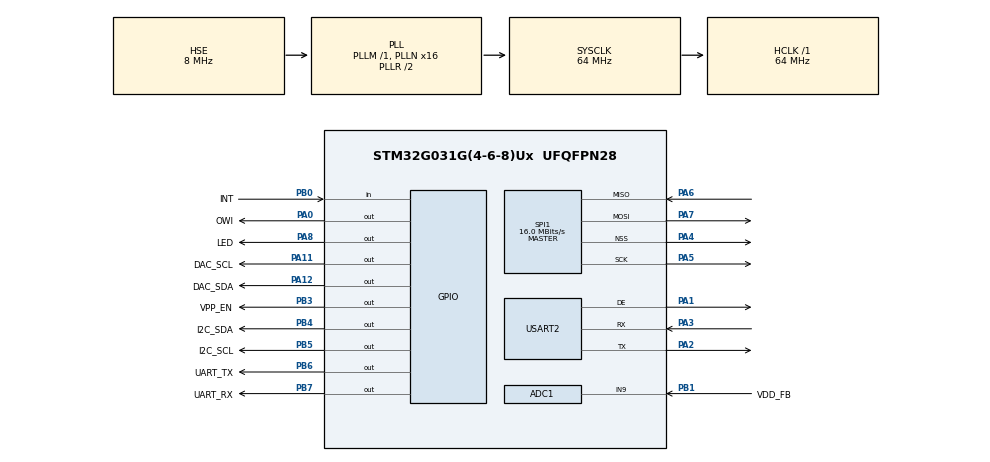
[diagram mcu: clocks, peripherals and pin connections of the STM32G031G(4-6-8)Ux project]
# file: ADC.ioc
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ADC1.Channel-0\#ChannelRegularConversion=ADC_CHANNEL_9
ADC1.ContinuousConvMode=ENABLE
ADC1.NbrOfConversionFlag=1
ADC1.OversamplingMode=ENABLE
ADC1.Rank-0\#ChannelRegularConversion=1
ADC1.Ratio=ADC_OVERSAMPLING_RATIO_16
ADC1.SamplingTime-0\#ChannelRegularConversion=ADC_SAMPLINGTIME_COMMON_1
ADC1.SamplingTimeCommon1=ADC_SAMPLETIME_160CYCLES_5
ADC1.SamplingTimeCommon2=ADC_SAMPLETIME_160CYCLES_5
ADC1.SelectedChannel=ADC_CHANNEL_9
ADC1.master=1
Dma.ADC1.0.Direction=DMA_PERIPH_TO_MEMORY
Dma.ADC1.0.EventEnable=DISABLE
Dma.ADC1.0.Instance=DMA1_Channel1
Dma.ADC1.0.MemDataAlignment=DMA_MDATAALIGN_WORD
Dma.ADC1.0.MemInc=DMA_MINC_ENABLE
Dma.ADC1.0.Mode=DMA_CIRCULAR
Dma.ADC1.0.PeriphDataAlignment=DMA_PDATAALIGN_WORD
Dma.ADC1.0.PeriphInc=DMA_PINC_DISABLE
Dma.ADC1.0.Polarity=HAL_DMAMUX_REQ_GEN_RISING
Dma.ADC1.0.Priority=DMA_PRIORITY_VERY_HIGH
Dma.ADC1.0.RequestNumber=1
Dma.ADC1.0.SignalID=NONE
Dma.ADC1.0.SyncEnable=DISABLE
Dma.ADC1.0.SyncPolarity=HAL_DMAMUX_SYNC_NO_EVENT
Dma.ADC1.0.SyncRequestNumber=1
Dma.ADC1.0.SyncSignalID=NONE
Dma.Request0=ADC1
FREERTOS.Tasks01=defaultTask,0,128,StartDefaultTask,Default,NULL,Dynamic,NULL,NULL;myTask02,-3,128,ModbusTask,Default,NULL,Dynamic,NULL,NULL
IWDG.Prescaler=IWDG_PRESCALER_32
IWDG.Reload=1000
IWDG.Window=1000
Mcu.Family=STM32G0
Mcu.Name=STM32G031G(4-6-8)Ux
Mcu.Package=UFQFPN28
NVIC.DMA1_Channel1_IRQn=true\:3\:0\:false\:false\:true\:true\:false\:true\:true
NVIC.TIM14_IRQn=true\:3\:0\:false\:false\:true\:false\:false\:true\:true
NVIC.TIM1_BRK_UP_TRG_COM_IRQn=true\:3\:0\:false\:false\:true\:true\:true\:true\:true
NVIC.TIM1_CC_IRQn=true\:3\:0\:false\:false\:true\:true\:true\:true\:true
NVIC.TIM2_IRQn=true\:3\:0\:false\:false\:true\:true\:true\:true\:true
NVIC.TIM3_IRQn=true\:3\:0\:false\:false\:true\:true\:true\:true\:true
NVIC.TimeBase=TIM14_IRQn
NVIC.TimeBaseIP=TIM14
NVIC.USART2_IRQn=true\:3\:0\:false\:false\:true\:true\:true\:true\:true
PA0.GPIO_Label=OWI
PA0.GPIO_ModeDefaultOutputPP=GPIO_MODE_OUTPUT_OD
PA0.GPIO_PuPd=GPIO_PULLUP
PA0.GPIO_Speed=GPIO_SPEED_FREQ_VERY_HIGH
PA0.Signal=GPIO_Output
PA1.Mode=Hardware Flow Control (RS485)
PA1.Signal=USART2_DE
PA11\ [PA9].GPIO_Label=DAC_SCL
PA11\ [PA9].GPIO_ModeDefaultOutputPP=GPIO_MODE_OUTPUT_OD
PA11\ [PA9].GPIO_PuPd=GPIO_NOPULL
PA11\ [PA9].PinState=GPIO_PIN_SET
PA11\ [PA9].Signal=GPIO_Output
PA12\ [PA10].GPIO_Label=DAC_SDA
PA12\ [PA10].GPIO_ModeDefaultOutputPP=GPIO_MODE_OUTPUT_OD
PA12\ [PA10].GPIO_PuPd=GPIO_NOPULL
PA12\ [PA10].PinState=GPIO_PIN_SET
PA12\ [PA10].Signal=GPIO_Output
PA13.Mode=Serial_Wire
PA13.Signal=SYS_SWDIO
PA14-BOOT0.Mode=Serial_Wire
PA14-BOOT0.Signal=SYS_SWCLK
PA2.Mode=Asynchronous
PA2.Signal=USART2_TX
PA3.Mode=Asynchronous
PA3.Signal=USART2_RX
PA4.Mode=NSS_Signal_Hard_Output
PA4.Signal=SPI1_NSS
PA5.Mode=Full_Duplex_Master
PA5.Signal=SPI1_SCK
PA6.Mode=Full_Duplex_Master
PA6.Signal=SPI1_MISO
PA7.Mode=Full_Duplex_Master
PA7.Signal=SPI1_MOSI
PA8.GPIO_Label=LED
PA8.Signal=GPIO_Output
PB0.GPIO_Label=INT
PB0.Signal=GPIO_Input
PB1.GPIO_Label=VDD_FB
PB1.Mode=IN9
PB1.Signal=ADC1_IN9
PB3.GPIO_Label=VPP_EN
PB3.Signal=GPIO_Output
PB4.GPIO_Label=I2C_SDA
PB4.GPIO_ModeDefaultOutputPP=GPIO_MODE_OUTPUT_OD
PB4.GPIO_PuPd=GPIO_NOPULL
PB4.Signal=GPIO_Output
PB5.GPIO_Label=I2C_SCL
PB5.GPIO_ModeDefaultOutputPP=GPIO_MODE_OUTPUT_OD
PB5.GPIO_PuPd=GPIO_NOPULL
PB5.Signal=GPIO_Output
PB6.GPIO_Label=UART_TX
PB6.Signal=GPIO_Output
PB7.GPIO_Label=UART_RX
PB7.Signal=GPIO_Output
PC14-OSC32_IN\ (PC14).Mode=HSE-External-Clock-Source
PC14-OSC32_IN\ (PC14).Signal=RCC_OSC_IN
ProjectManager.HeapSize=0x200
ProjectManager.StackSize=0x400
ProjectManager.TargetToolchain=MDK-ARM V5.32
RCC.ADCFreq_Value=64000000
RCC.AHBFreq_Value=64000000
RCC.CortexFreq_Value=64000000
RCC.EXTERNAL_CLOCK_VALUE=12288000
RCC.HCLKFreq_Value=64000000
RCC.HSE_VALUE=8000000
RCC.HSI_VALUE=16000000
RCC.LSE_VALUE=32768
RCC.PLLN=16
RCC.PLLSourceVirtual=RCC_PLLSOURCE_HSE
RCC.SYSCLKFreq_VALUE=64000000
RCC.SYSCLKSource=RCC_SYSCLKSOURCE_PLLCLK
RCC.TIM1CLockSelectionVirtual=RCC_TIM1CLKSOURCE_PLL
RCC.VCOOutputFreq_Value=128000000
SPI1.BaudRatePrescaler=SPI_BAUDRATEPRESCALER_4
SPI1.CLKPhase=SPI_PHASE_2EDGE
SPI1.CalculateBaudRate=16.0 MBits/s
SPI1.Direction=SPI_DIRECTION_2LINES
SPI1.Mode=SPI_MODE_MASTER
SPI1.VirtualNSS=VM_NSSHARD
SPI1.VirtualType=VM_MASTER
TIM1.Period=0xFFFF
TIM1.Prescaler=64-1
TIM2.Channel-Input_Capture1_from_TI1_REMAP_TIM2=TIM_CHANNEL_1
TIM2.Prescaler=64-1
USART2.VirtualMode-Asynchronous=VM_ASYNC
USART2.VirtualMode-Hardware\ Flow\ Control\ (RS485)=VM_ASYNC
VP_FREERTOS_VS_CMSIS_V1.Mode=CMSIS_V1
VP_IWDG_VS_IWDG.Mode=IWDG_Activate
VP_SYS_VS_tim14.Mode=TIM14
VP_TIM1_VS_ClockSourceINT.Mode=Internal
VP_TIM2_VS_ClockSourceINT.Mode=Internal
VP_TIM2_VS_NoInput1.Mode=Input_Capture1_from_TI1_REMAP_TIM2
VP_TIM3_VS_ClockSourceINT.Mode=Internal
board=custom

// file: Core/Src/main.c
/* USER CODE BEGIN Header */
/**
  ******************************************************************************
  * @file           : main.c
  * @brief          : Main program body
  ******************************************************************************
  * @attention
  *
  * Copyright (c) 2025 STMicroelectronics.
  * All rights reserved.
  *
  * This software is licensed under terms that can be found in the LICENSE file
  * in the root directory of this software component.
  * If no LICENSE file comes with this software, it is provided AS-IS.
  *
  ******************************************************************************
  */
/* USER CODE END Header */
#include "main.h"
#include "cmsis_os.h"
#include "adc.h"
#include "dma.h"
#include "iwdg.h"
#include "spi.h"
#include "tim.h"
#include "usart.h"
#include "gpio.h"

/* USER CODE BEGIN Includes */
#include <math.h>
/* USER CODE END Includes */

void SystemClock_Config(void);
void MX_FREERTOS_Init(void);

/* USER CODE BEGIN 0 */
//uint16_t Tim_Count;

uint32_t T_AD;//温度AD
float T_ad;		//温度缩小1000倍转换浮点
float T_a;		//温度系数A
float T_b;		//温度系数B
float T_c;		//温度系数C
float T;			//温度结果

uint32_t P_AD;//气压AD
float p_ad;		//气压缩小1000倍转换浮点
float P_a;		//气压系数A
float P_bk;		//气压系数BK
float P_b0;		//气压系数B0
float P_ca;		//气压系数CA
float P_cb;		//气压系数CB
float P_c0;		//气压系数C0
float P;			//气压结果
/* USER CODE END 0 */

int main(void)
{

  /* MCU Configuration--------------------------------------------------------*/

  /* Reset of all peripherals, Initializes the Flash interface and the Systick. */
  HAL_Init();

  /* USER CODE BEGIN Init */
//test();
  /* USER CODE END Init */

  /* Configure the system clock */
  SystemClock_Config();

  /* Initialize all configured peripherals */
  MX_GPIO_Init();
  MX_DMA_Init();
  MX_SPI1_Init();
  MX_USART2_UART_Init();
  MX_TIM3_Init();
  MX_TIM1_Init();
  MX_TIM2_Init();
  //MX_IWDG_Init();
  MX_ADC1_Init();
  /* USER CODE BEGIN 2 */
  //HAL_IWDG_Refresh(&hiwdg);
  /* USER CODE END 2 */

  /* Call init function for freertos objects (in cmsis_os2.c) */
  MX_FREERTOS_Init();

  /* Start scheduler */
  osKernelStart();

  /* We should never get here as control is now taken by the scheduler */

  /* Infinite loop */
  while (1)
  {

  }
}

void SystemClock_Config(void)
{
  RCC_OscInitTypeDef RCC_OscInitStruct = {0};
  RCC_ClkInitTypeDef RCC_ClkInitStruct = {0};

  /** Configure the main internal regulator output voltage
  */
  HAL_PWREx_ControlVoltageScaling(PWR_REGULATOR_VOLTAGE_SCALE1);

  /** Initializes the RCC Oscillators according to the specified parameters
  * in the RCC_OscInitTypeDef structure.
  */
  RCC_OscInitStruct.OscillatorType = RCC_OSCILLATORTYPE_LSI|RCC_OSCILLATORTYPE_HSE;
  RCC_OscInitStruct.HSEState = RCC_HSE_BYPASS;
  RCC_OscInitStruct.LSIState = RCC_LSI_ON;
  RCC_OscInitStruct.PLL.PLLState = RCC_PLL_ON;
  RCC_OscInitStruct.PLL.PLLSource = RCC_PLLSOURCE_HSE;
  RCC_OscInitStruct.PLL.PLLM = RCC_PLLM_DIV1;
  RCC_OscInitStruct.PLL.PLLN = 16;
  RCC_OscInitStruct.PLL.PLLP = RCC_PLLP_DIV2;
  RCC_OscInitStruct.PLL.PLLQ = RCC_PLLQ_DIV2;
  RCC_OscInitStruct.PLL.PLLR = RCC_PLLR_DIV2;
  if (HAL_RCC_OscConfig(&RCC_OscInitStruct) != HAL_OK)
  {
    Error_Handler();
  }

  /** Initializes the CPU, AHB and APB buses clocks
  */
  RCC_ClkInitStruct.ClockType = RCC_CLOCKTYPE_HCLK|RCC_CLOCKTYPE_SYSCLK
                              |RCC_CLOCKTYPE_PCLK1;
  RCC_ClkInitStruct.SYSCLKSource = RCC_SYSCLKSOURCE_PLLCLK;
  RCC_ClkInitStruct.AHBCLKDivider = RCC_SYSCLK_DIV1;
  RCC_ClkInitStruct.APB1CLKDivider = RCC_HCLK_DIV1;

  if (HAL_RCC_ClockConfig(&RCC_ClkInitStruct, FLASH_LATENCY_2) != HAL_OK)
  {
    Error_Handler();
  }
}

/* USER CODE BEGIN 4 */
void delay_us(uint32_t us)
{
  /* TIM1 is a free-running 16-bit, 1 MHz counter. Accumulate elapsed ticks
     so wraparound or an interrupt crossing the deadline cannot miss it. */
  uint16_t previous = (uint16_t)__HAL_TIM_GET_COUNTER(&htim1);
  while (us) {
    uint16_t current = (uint16_t)__HAL_TIM_GET_COUNTER(&htim1);
    uint16_t elapsed = (uint16_t)(current - previous);
    if (elapsed >= us) break;
    us -= elapsed;
    previous = current;
  }
}
/* USER CODE END 4 */

void HAL_TIM_PeriodElapsedCallback(TIM_HandleTypeDef *htim)
{
  if (htim->Instance == TIM14)
  {
    HAL_IncTick();
  }
}

void Error_Handler(void)
{
  __disable_irq();
  while (1)
  {
  }
}

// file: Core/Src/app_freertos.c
/* USER CODE BEGIN Header */
/**
  ******************************************************************************
  * File Name          : app_freertos.c
  * Description        : Code for freertos applications
  ******************************************************************************
  * @attention
  *
  * Copyright (c) 2025 STMicroelectronics.
  * All rights reserved.
  *
  * This software is licensed under terms that can be found in the LICENSE file
  * in the root directory of this software component.
  * If no LICENSE file comes with this software, it is provided AS-IS.
  *
  ******************************************************************************
  */
/* USER CODE END Header */

#include "FreeRTOS.h"
#include "task.h"
#include "main.h"
#include "cmsis_os.h"

/* USER CODE BEGIN Includes */
#include "usart.h"
#include "stdio.h"
#include "mb.h"
#include "mbutils.h"
#include <string.h>
#include "CmdHelper.h"
#include "ADS1220.h"
#include "flash.h"
#include "SoftIIC.h"
#include "tim.h"
#include "iwdg.h"
#include "MCP4725.h"
/* USER CODE END Includes */

/* USER CODE BEGIN PTD */

#define SLAVE_ADDRESS 1

/* USER CODE END PTD */

osThreadId defaultTaskHandle;
osThreadId myTask02Handle;
osThreadId productTaskHandle;
static volatile uint8_t product_drivers_ready;

void StartDefaultTask(void const * argument);
void ModbusTask(void const * argument);
void ProductTestTask(void const * argument);

void MX_FREERTOS_Init(void); /* (MISRA C 2004 rule 8.1) */

void MX_FREERTOS_Init(void) {

  /* Create the thread(s) */
  /* definition and creation of defaultTask */
  osThreadDef(defaultTask, StartDefaultTask, osPriorityNormal, 0, 128);
  defaultTaskHandle = osThreadCreate(osThread(defaultTask), NULL);

  /* definition and creation of myTask02 */
  osThreadDef(myTask02, ModbusTask, osPriorityIdle, 0, 256);
  myTask02Handle = osThreadCreate(osThread(myTask02), NULL);

  /* USER CODE BEGIN RTOS_THREADS */
  osThreadDef(productTask, ProductTestTask, osPriorityNormal, 0, 256);
  productTaskHandle = osThreadCreate(osThread(productTask), NULL);
  if (!defaultTaskHandle || !myTask02Handle || !productTaskHandle) Error_Handler();
  /* add threads, ... */

  /* definition and creation of myTask02 */

  /* USER CODE END RTOS_THREADS */

}

void StartDefaultTask(void const * argument)
{
  /* USER CODE BEGIN StartDefaultTask */
  uint8_t i=0;
  /* Infinite loop */
  for(;;)
  {
    //HAL_IWDG_Refresh(&hiwdg);
    if(i ==1 )HAL_GPIO_WritePin(LED_GPIO_Port,LED_Pin,GPIO_PIN_SET);
    else if(i ==6)
		{
      i = 0;
			HAL_GPIO_WritePin(LED_GPIO_Port,LED_Pin,GPIO_PIN_RESET);
    }
    i++;
    osDelay(500);
  }
  /* USER CODE END StartDefaultTask */
}

void ModbusTask(void const * argument)
{
  /* USER CODE BEGIN ModbusTask */
  /* Infinite loop */
	HAL_TIM_Base_Start(&htim1);
	HAL_TIM_Base_Start(&htim2);
	ST_Flash_Read(FLASH_USER_START_ADDR, sizeof(ADS1220), &ADS1220);
	ADS1220_Init(&ADS1220);
	MCP4725_Init();
	eMBInit(MB_RTU, SLAVE_ADDRESS, SLAVE_ADDRESS, 115200, MB_PAR_NONE);
	eMBEnable();
    product_drivers_ready = 1;
	/* Infinite loop */
	for (;;) {
		eMBPoll();
		osDelay(1);
	}
  /* USER CODE END ModbusTask */
}

/* USER CODE BEGIN Application */
void ProductTestTask(void const * argument)
{
    (void)argument;
    for (;;) {
        if (product_drivers_ready) RunPendingProductTest();
        osDelay(1);
    }
}

/* USER CODE END Application */
